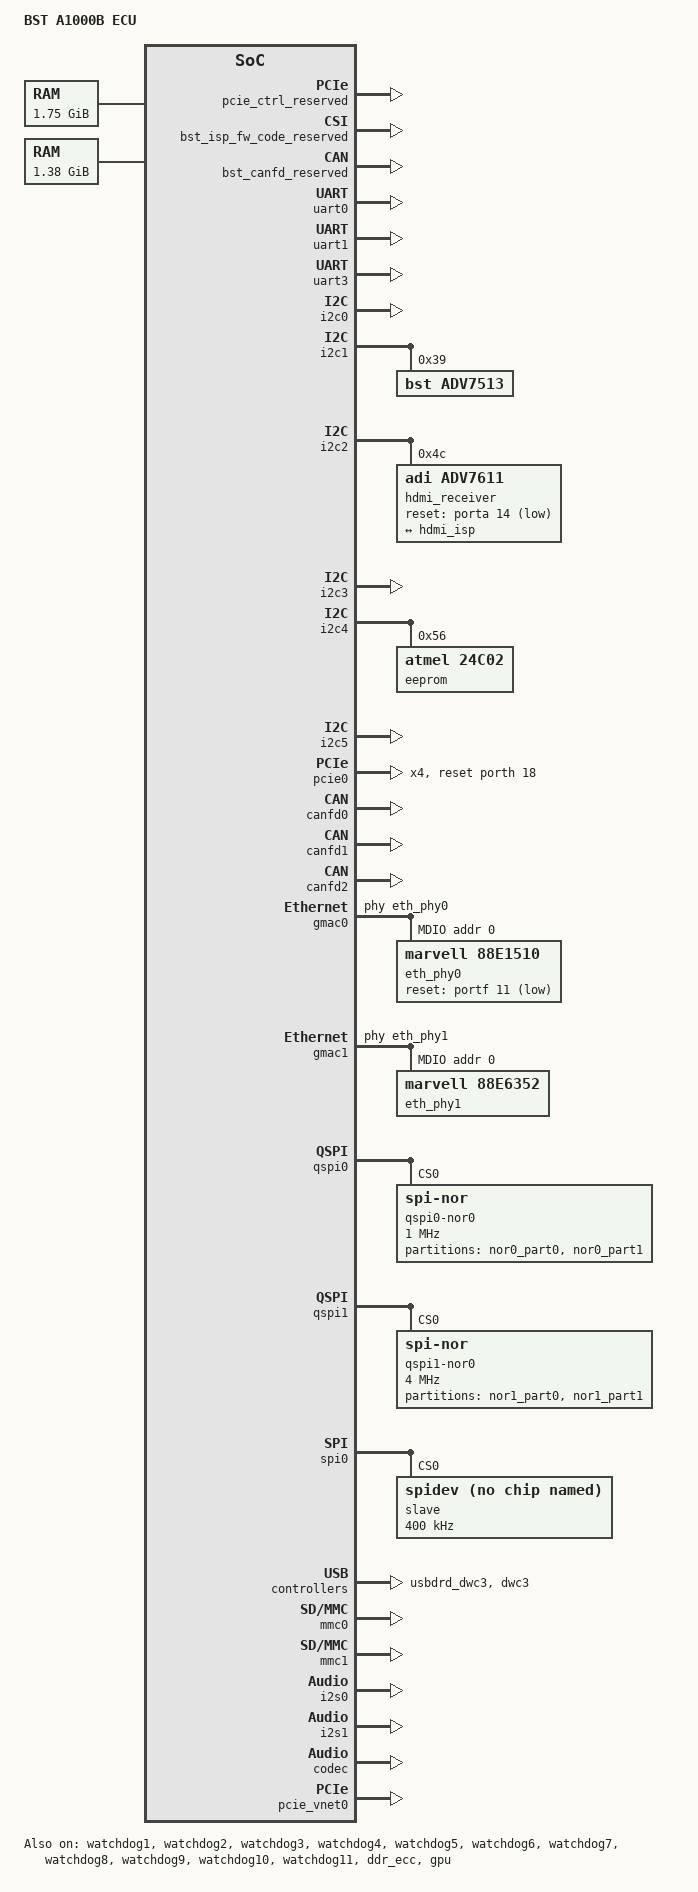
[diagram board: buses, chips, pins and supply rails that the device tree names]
/dts-v1/;

/memreserve/ 0x18000000 0x100000;

#include "bsta1000b.dtsi"
#include "isp/ecu/ecu-configs.dtsi"

/ {
	compatible = "bst,a1000b";
	model = "BST A1000B ECU";

	chosen {
		bootargs = "earlycon=uart8250,mmio32,0x20008000 console=ttyS0,115200n8 memreserve=64M@0xf8000000 rdinit=/sbin/init root=/dev/ram rw init=/linuxrc rodata=n";
		stdout-path = "uart0";
	};

	aliases {
		//serial0 = "/amba_apu@0/serial@20008000";
	};
	
	memory@80000000 {
		device_type = "memory";
		reg = <0x00000000 0x80000000 0x00000000 0x70000000>;
	};
	memory@198000000 {
		device_type = "memory";
		reg = <0x00000001 0x98000000 0x00000000 0x58000000>;
	};

    memory1@18000000 {
        device_type = "memory";
        reg = <0x0 0x18000000 0x0 0x100000>;
    };

    reserved-memory {
        #address-cells = <2>;
        #size-cells = <2>;
        ranges;

		pcie_ctrl_reserved: pcie_ctrl@8fd00000 {
			compatible = "bst,pcie-ctrl";
			reg = <0x0 0x8fd00000 0x0 0x100000>;
			no-map;
		};

		bst_atf_reserved: bst_atf@8b000000 {
			compatible = "shared-dma-pool";
			reg = <0x0 0x8b000000 0x0 0x2000000>;
			no-map;
		};

		bst_tee_reserved: bst_tee@8fec0000 {
			compatible = "shared-dma-pool";
			reg = <0x0 0x8fec0000 0x0 0x40000>;
			no-map;
		};

		bst_ipc_reserved: bstn_cma@8ff00000 {
			compatible = "shared-dma-pool";
			reg = <0x0 0x8ff00000 0x0 0x100000>;
			no-map;
		};

		bstn_firmware_reserved: bstn@90000000 {
			compatible = "bst,bstn";
			reg = <0x0 0x90000000 0x0 0x2000000>;
			no-map;
		};

		bst_lwnn_dsp0_firmware_reserved: bst_lwnn@92000000 {
			compatible = "bst,bst_lwnn";
			reg = <0x0 0x92000000 0x0 0x2000000>;
			no-map;
		};

		bst_lwnn_dsp1_firmware_reserved: bst_lwnn@94000000 {
			compatible = "bst,bst_lwnn";
			reg = <0x0 0x94000000 0x0 0x2000000>;
			no-map;
		};

		bst_cv_firmware_reserved: bst_cv@96000000 {
			compatible = "bst,bst_cv";
			reg = <0x0 0x96000000 0x0 0x4000000>;
			no-map;
		};

		bst_cv_reserved: bst_cv_cma@9a000000 {
			compatible = "shared-dma-pool";
			reg = <0x0 0x9a000000 0x0 0x2000000>;
			align-shift = <8>;
			no-map;
		};

		/* reserved for vsp fw code */
		bst_vsp_fw_code_reserved: vsp@0x9c000000 {
			compatible = "shared-dma-pool";
			reg = <0x0 0x9c000000 0x0 0x1000000>;
			no-map;
		};

		/* reserved for vsp fw data */
		vsp_fw_data_reserved: vsp_fw@0x9d000000 {
			reg = <0x0 0x9d000000 0x0 0x4000000>;
			no-map;
		};

		/* reserved for isp fw code */
		bst_isp_fw_code_reserved: bst_isp@0xa1000000 {
			compatible = "shared-dma-pool";
			reg = <0x0 0xa1000000 0x0 0x1000000>;
			no-map;
		};

		/* reserved for isp fw data */
		isp_fw_data_reserved: bst_isp_fw@0xa2000000 {
			reg = <0x0 0xa2000000 0x0 0x10000000>;
			no-map;
		};

		/* coreip public memory pool */
		coreip_reserved: coreip_pub_cma@0xb2000000 {
			compatible = "shared-dma-pool";
			reg = <0x0 0xb2000000 0x0 0x36000000>;
			reusable;
		};

		/* reserved for pmu noc */
		pmu_noc_reserved: pmu_noc@0xe8000000 {
			reg = <0x0 0xe8000000 0x0 0x800000>;
			no-map;
		};

		bst_canfd_reserved: canfd@0xe8800000 {
			compatible = "shared-dma-pool";
			reg = <0x0 0xe8800000 0x0 0x800000>;
			reusable;
		};

		/* reserved for ddr0 high 256M */
		bst_ddr0_reserved: ddr0@0xf0000000 {
			reg = <0x0 0xf0000000 0x0 0x10000000>;
			no-map;
		};

		/* reserved for ddr1 high 256M */
		bst_ddr1_reserved: ddr1@0x1f0000000 {
			reg = <0x1 0xf0000000 0x0 0x10000000>;
			no-map;
		};
	};

    //ipc
    mbox-poll-clients{
        compatible = "bst,ipc-mbox-client";
        reg = <0xfec00020 0x8>,     // dsp
            <0x52030090 0x8> ,      // ISP
            <0x53090008 0x8>,       // VSP
            <0xfec00028 0x8>;       // R5 core0

        #mbox-cells = <0x1>;
        phandle = <0xe>;
    };
    bstn-mbox {
        compatible = "bstn,bstn-mbox";
        // zcu102+vu440
        reg =   <0x0 0x33102000 0x0 0x2000>,
                      <0x0 0x33100000 0x0 0x2000>,
                      <0x0 0x80000000 0x0 0x4>,
                      <0x0 0x80002000 0x0 0x4>;
        fpga-reset = <1>;
        memory-region = <&bst_ipc_reserved>;
        // id = <0x0>;
        assigned-mem-size = <0x1000>;
        interrupt-parent = <&gic400>;
        interrupts =    <
                        GIC_SPI 113 (GIC_CPU_MASK_SIMPLE(8) | IRQ_TYPE_LEVEL_HIGH)
                        GIC_SPI 114 (GIC_CPU_MASK_SIMPLE(8) | IRQ_TYPE_LEVEL_HIGH)
                        GIC_SPI 115 (GIC_CPU_MASK_SIMPLE(8) | IRQ_TYPE_LEVEL_HIGH)
                        GIC_SPI 116 (GIC_CPU_MASK_SIMPLE(8) | IRQ_TYPE_LEVEL_HIGH)
                        GIC_SPI 117 (GIC_CPU_MASK_SIMPLE(8) | IRQ_TYPE_LEVEL_HIGH)
                        GIC_SPI 118 (GIC_CPU_MASK_SIMPLE(8) | IRQ_TYPE_LEVEL_HIGH)
                        GIC_SPI 119 (GIC_CPU_MASK_SIMPLE(8) | IRQ_TYPE_LEVEL_HIGH)
                        GIC_SPI 120 (GIC_CPU_MASK_SIMPLE(8) | IRQ_TYPE_LEVEL_HIGH)>;

        #mbox-cells = <0x1>;
        phandle = <0xea>;
    };
    
    bstn@0 {
        #address-cells = <0x2>;
        #size-cells = <0x2>;
        compatible = "bst,bstn,cma";
        reg = <0x0 0x50020000 0x0 0x100
            0x0 0x90000000 0x0 0x2000000>;
        memory-region = <&coreip_reserved>;
        //the following two properties must be consistent with bstn_reserved
        rmem-base = <0x0 0xb2000000>;
        rmem-size = <0x0 0x36000000>;
        id = <0x0>;
        assigned-mem-size = <0x1000>;
        //the offset between the DDR physical address and the corresponding device bus address
        bus-offset = <0x0 0x0>;
        mbox-names = "bstn-mbox";
        mboxes = <0xea 0x8>;
        firmware = "bstn_dsp_rt.rbf";
    };

    bst_cv@0x51030000 {
        #address-cells = <0x2>;
        #size-cells = <0x2>;
        compatible = "bst,bst_cv,cma";
        reg =   <0x0 0x51030000 0x0 0x100
                0x0 0x96000000 0x0 0x2000000
                0x0 0x98000000 0x0 0x2000000
                0x0 0x92000000 0x0 0x2000000
                0x0 0x94000000 0x0 0x2000000>;
        memory-region = <&bst_cv_reserved>;
        assigned-mem-size = <0x4000>;
        //the offset between the DDR physical address and the corresponding device bus address
        bus-offset = <0x0 0x0>;
        mbox-names = "bstn-mbox";
        mboxes = <0xea 0x9>;
        dsp-num = <0x4>;
        ipc-register-addr = <0x8ff00000>;
        dsp@0x96000000 {
            index = <0x0>;
            firmware = "bst_cv_dsp_rt.rbf";
            assigned-mem-size = <0x1000>;
            rt-init-addr = <0x967ff000>;
            //ipc source ARM core index of the CV driver
            ipc-src-core = <0x3>;
        };
        dsp@0x98000000 {
            index = <0x1>;
            firmware = "bst_cv_dsp1_rt.rbf";
            assigned-mem-size = <0x1000>;
            rt-init-addr = <0x987ff000>;
            //ipc source ARM core index of the CV driver
            ipc-src-core = <0x3>;
        };
        dsp@0x92000000 {
            index = <0x2>;
            firmware = "bst_cv_dsp2_rt.rbf";
            assigned-mem-size = <0x1000>;
            rt-init-addr = <0x927ff000>;
            //ipc source ARM core index of the CV driver
            ipc-src-core = <0x3>;
        };
        dsp@0x94000000 {
            index = <0x3>;
            firmware = "bst_cv_dsp3_rt.rbf";
            assigned-mem-size = <0x1000>;
            rt-init-addr = <0x947ff000>;
            //ipc source ARM core index of the CV driver
            ipc-src-core = <0x3>;
        };
    };

    bst_lwnn@0x51030000 {
        compatible = "bst,bst_lwnn,cma";
        reg =   <0x0 0x51030000 0x0 0x100
                0x0 0x92000000 0x0 0x2000000
                0x0 0x94000000 0x0 0x2000000>;
        memory-region = <&coreip_reserved>;
        //the offset between the DDR physical address and the corresponding device bus address
        bus-offset = <0x0 0x0>;
        mbox-names = "bst-lwnn-mbox";

        dsp-num = <0x2>;
        ipc-register-addr = <0x8ff00000>;
        dsp@0x92000000 {
            index = <0x2>;
            firmware = "bst_lwnn_dsp2_rt.rbf";
            assigned-mem-size = <0x2000>;
            rt-init-addr = <0x927ff000>;
            //ipc source ARM core index of the LWNN driver
            ipc-src-core = <0x6>;
        };
        dsp@0x94000000 {
            index = <0x3>;
            firmware = "bst_lwnn_dsp3_rt.rbf";
            assigned-mem-size = <0x2000>;
            rt-init-addr = <0x947ff000>;
            //ipc source ARM core index of the LWNN driver
            ipc-src-core = <0x0>;
        };    
    };

	ipc_vsp@0 {
		#address-cells = <0x2>;
		#size-cells = <0x2>;
		compatible = "bst,bst-vsp-ipc";
		reg = <0x0 0x9c000000 0x0 0x100000
				0x0 0x9c100000 0x0 0x80000
				0x0 0x9c180000 0x0 0x80000
				0x0 0x53090004 0x0 0x4
				0x0 0x53090010 0x0 0xc
				0x0 0x33102fbc 0x0 0x4
				0x0 0x9d000000 0x0 0x4000000>;
		memory-region = <&bst_vsp_fw_code_reserved>;
		mbox-names = "bstn-mbox"; // need
		mboxes = <0xea 0x7>;
	};

	vsp@1 {
		#address-cells = <0x2>;
		#size-cells = <0x2>;
		compatible = "bst,bst-vsp";
		memory-region = <&coreip_reserved>;
		assigned-mem-size = <0x1000>;

                clocks = <&clkc LB_VSP_DISP_CLK>;
                clock-names = "vout_display_clk";
                output-format = "HDMI_YUV444";      //HDMI_YUV444, HDMI_RGB, RGB888(LVDS)
                output-hsize = <1920>;              // for HDMI
                output-vsize = <1080>;              // for HDMI
                output-fresh = <60>;                // for HDMI
	};

       gmwarp@0 {
		#address-cells = <0x2>;
		#size-cells = <0x2>;
		compatible = "bst,bst-gmwarp";
		memory-region = <&coreip_reserved>;
	};

     encoder@0 {
		#address-cells = <0x2>;
		#size-cells = <0x2>;
		compatible = "bst,bst-encoder";
		memory-region = <&coreip_reserved>;
     };

    firmware {
		optee {
			compatible = "linaro,optee-tz";
			method = "smc";
            chip-number = <2>;
		};
	};

    tee {
        #address-cells = <0x2>;
        #size-cells = <0x2>;
        reg = <0x0 0x18060000 0x0 0x20000>;
        memory-region = <&bst_tee_reserved>;
        mbox-names = "bstn-mbox";
        chip-number = <1>;
    };	

    ipc_arm0@0 {
        #address-cells = <0x2>;
        #size-cells = <0x2>;
        compatible = "bst,arm0";
        reg = <0x4 0xfec00000 0x0 0x20 0x4 0x80000000 0x0 0x20000>;
        memory-region = <&bst_ipc_reserved>;
        //id = <0x0>;
        //ipc-resource-id = <0>;   // ipc add, refer to mbox-poll-clients :reg <0>
        assigned-mem-size = <0x1000>;
        // bstn-offset = <0x4 0x0>;
        mbox-names = "bstn-mbox";
        mboxes = <0xea 0x0>;
    };

    ipc_arm3@3 {
        #address-cells = <0x2>;
        #size-cells = <0x2>;
        compatible = "bst,arm3";
        reg = <0x4 0xfec10000 0x0 0x20 0x4 0x80000000 0x0 0x20000>;
        memory-region = <&bst_ipc_reserved>;
        // id = <0x1>;
        //ipc-resource-id = <0>;   // ipc add, refer to mbox-poll-clients :reg <0>
        assigned-mem-size = <0x1000>;
        //bstn-offset = <0x4 0x0>;
        mbox-names = "bstn-mbox";
        mboxes = <0xea 0x3>;
    };

    ipc_arm2@2 {
        #address-cells = <0x2>;
        #size-cells = <0x2>;
        compatible = "bst,arm2";
        reg = <0x4 0xfec10000 0x0 0x20 0x4 0x80000000 0x0 0x20000>;
        memory-region = <&bst_ipc_reserved>;
        // id = <0x1>;
        //ipc-resource-id = <0>;   // ipc add, refer to mbox-poll-clients :reg <0>
        assigned-mem-size = <0x1000>;
        //bstn-offset = <0x4 0x0>;
        mbox-names = "bstn-mbox";
        mboxes = <0xea 0x2>;
    };

    ipc_arm1@1 {
        #address-cells = <0x2>;
        #size-cells = <0x2>;
        compatible = "bst,arm1";
        reg = <0x4 0xfec10000 0x0 0x20 0x4 0x80000000 0x0 0x20000>;
        memory-region = <&bst_ipc_reserved>;
        //id = <0x1>;
        //ipc-resource-id = <0>;   // ipc add, refer to mbox-poll-clients :reg <0>
        assigned-mem-size = <0x1000>;
        // bstn-offset = <0x4 0x0>;
        mbox-names = "bstn-mbox";
        mboxes = <0xea 0x1>;
    };
    ipc@0 {
        #address-cells = <0x2>;
        #size-cells = <0x2>;
        compatible = "bst,ipc";
        reg = <0x4 0xfec00000 0x0 0x20 0x4 0x80000000 0x0 0x20000>;
        memory-region = <&bst_ipc_reserved>;
        // id = <0x0>;
        assigned-mem-size = <0x1000>;
        // bstipc-offset = <0x4 0x0>;
        mbox-names = "bstn-mbox";
        mboxes = <0xea 0x5>;
        //firmware = "dsp_rt.rbf";
    };
};

&pinctrl {
    status = "okay";
    can0_transceiver_pinctrl: can0_transceiver_pinctrl {
        mux {
            //pins = "gpio_107";
            function = "gpio";
        };
    };
    can1_transceiver_pinctrl: can1_transceiver_pinctrl {
        mux {
            //pins = "gpio_30";
            function = "gpio";
        };
    };
    can2_transceiver_pinctrl: can2_transceiver_pinctrl {
        mux {
            //pins = "jtag_tdo";
            function = "gpio";
        };
    };
};

&uart0 {
    status = "okay";
};
&uart1 {
    status = "okay";
};
&uart2 {
    status = "disable";
};
&uart3 {
    status = "okay";
};

&i2c0 {
    status = "okay";
};
&i2c1 {
    status = "okay";
    #address-cells = <1>;
    #size-cells = <0>;
    adv7513@39 {
         compatible = "bst,adv7513";
         reg = <0x39>;
    };
};
&i2c2 {
    status = "okay";
    #address-cells = <1>;
    #size-cells = <0>;

    hdmi_receiver@4c {
        compatible = "adi,adv7611";
        reg = <0x4c>;
        reg-names = "main", "edid";
        reset-gpios = <&porta 14 1>;
        pinctrl-names = "default";
        default-input = <0>;

        data-type = <0x1e>;
        size = <1920 1080>;
        dvp-dummy = <0xaaa0>; //[15:x]=dummydata [x:0]=0
        view0-fmt = <1>;
        view0-size = <1280 720>;
        view1-fmt = <1>;
        view1-size = <1920 1080>;
        pdns-mode = <0>;
        pdns-input-view = <0>;
        hblank = <0>;

        port {
            hdmi_in: endpoint {
                remote-endpoint = <&hdmi_isp>;
            };
        };
    };
};
&i2c3 {
    status = "okay";   
};
&i2c4 {
    status = "okay";
    #address-cells = <1>;
    #size-cells = <0>;
         eeprom@56 {
                 compatible = "atmel,24c02";
                 reg = <0x56>;
                 pagesize = <16>;
         };


};
&i2c5 {
    status = "okay";
};

&gdma0 {
    status = "okay";
};

#if 0 //pcie0-ep
&pcie_phy {
    dmc-lane = <0x0>; /* bit0: 1=2x2ports, 0=1x4ports */
    dmc-mode = <0x0>; /* bit1: 1=RC-mode, 0=EP-mode */
    pcie-ctl0 = <1>;  /* Controller reset */
    pcie-ctl1 = <0>;  /* Controller reset */
    //inner-clk;
    /* clocks= <&clkc LB_PCIE_REF_ALT_CLK_P>,
            <&clkc LB_PCIE_AUX_CLK>,
            <&clkc LB_PCIE_AXI_GACLK>,
            <&clkc LB_PCIE_APB_GPCLK>;
    clock-names = "ref_clk", "aux_clk", "axi_clk", "apb_clk";*/
};

&pcie0_ep {
    status = "okay";
    reset-gpio = <&porth 18 0>; /* reset pcie0 gpio-242 */
    max-link-speed = <3>;
    num-lanes = <4>;
    picp-ctl = "dma";
    ob-memaddr-def = <&pcie_ctrl_reserved>;
};

#else //pcie0-rc
&pcie_phy {
    dmc-lane = <0x0>; /* bit0: 1=2x2ports, 0=1x4ports */
    dmc-mode = <0x2>; /* bit1: 1=RC-mode, 0=EP-mode */
    pcie-ctl0 = <1>;  /* Controller reset */
    pcie-ctl1 = <0>;  /* Controller reset */
    
    /*clocks= <&clkc LB_PCIE_REF_ALT_CLK_P>,
            <&clkc LB_PCIE_AUX_CLK>,
            <&clkc LB_PCIE_AXI_GACLK>,
            <&clkc LB_PCIE_APB_GPCLK>;
    clock-names = "ref_clk", "aux_clk", "axi_clk", "apb_clk";*/
};

&pcie0 {
    status = "okay";
    reset-gpio = <&porth 18 0>; /* reset pcie0 gpio-242 */
    max-link-speed = <3>;
    num-lanes = <4>;
    //picp-ctl = "mem";
    ob-memaddr-def = <&pcie_ctrl_reserved>;
};
#endif

&canfd0 {
    status = "okay";
    //reset-gpios = <&porta 22 0>;
    reset-active-low;
    memory-region = <&bst_canfd_reserved>;
    pinctrl-names = "default";
	//pinctrl-0 = <&can0_pinctrl &can0_transceiver_pinctrl>;
};
&canfd1 {
    status = "okay";
    //reset-gpios = <&porta 23 0>;
    reset-active-low;
    pinctrl-names = "default";
	//pinctrl-0 = <&can1_pinctrl &can1_transceiver_pinctrl>;
};
&canfd2 {
    status = "okay";
    //reset-gpios = <&portb 4 0>;
    reset-active-low;
    pinctrl-names = "default";
	//pinctrl-0 = <&can2_pinctrl &can2_transceiver_pinctrl>;
};
&gpio0 {
    status = "okay";

    /* gpio_special_func_pinctrl:gpio_num_29 gmac0 reset pin; debug_4 and debug_5 as gpio */
    //pinctrl-0 = <gpio_special_func_pinctrl>;
    pinctrl-0 = <&sdemmc0_pinctrl  &sdemmc1_pinctrl  &debug_pinctrl  &vout_pinctrl  &vin_pinctrl>;
};
&gpio1 {
    status = "okay";
};
           
&gmac0 {
    status = "okay";
    mac-mode = "rgmii";
    phy-handle = <&eth_phy0>;
    extend-op = <7>;
    pinctrl-names = "default";
    pinctrl-0 = <&rgmii0_pinctrl>;
    mdio {
        compatible = "snps,dwmac-mdio";
        #address-cells = <1>;
        #size-cells = <0>;
        eth_phy0: eth_phy0@0 {
            compatible = "marvell,88E1510", "ethernet-phy-id0141.0DD1", "ethernet-phy-ieee802.3-c22";
            device_type = "ethernet-phy";
            /* On - Link, Blink - Activity, Off - No Link - Dual LED mode*/
            marvell,reg-init = <3 0x10 0 0x101e>;
            max-speed = <1000>;
            reg = <0x0>;
            reset-gpios = <&portf 11 1>;
            reset-assert-us = <20000>;
            reset-deassert-us = <20000>;
        };
    };
};


&gmac1 {
    status = "okay";
    mac-mode = "rgmii";
    phy-handle = <&eth_phy1>;
    extend-op = <7>;
    pinctrl-names = "default";
    pinctrl-0 = <&rgmii1_pinctrl>;
    mdio {
        compatible = "snps,dwmac-mdio";
        #address-cells = <1>;
        #size-cells = <0>;
        eth_phy1: eth_phy1@1 {
            compatible = "marvell,88E6352", "ethernet-phy-id0.3520", "ethernet-phy-ieee802.3-c22";
			device_type = "ethernet-phy";
			max-speed = <1000>;
			reg = <0>;
            reset-swpin = <&porta 9 0>;
            reset-active-low;
	        reset-assert-us = <20000>;
	        reset-deassert-us = <20000>;
		};
    };
};

&qspi0 {
    status = "okay";
    //wp_mode;
    qspi0-nor0@0 {
        #address-cells = <1>;
        #size-cells = <1>;
        spi-rx-bus-width = <1>;
        spi-tx-bus-width = <1>;
        compatible = "jedec,spi-nor";
        status = "okay";
        spi-max-frequency = <1000000>;
        reg = <0>;
        mode = <0>;

        partition@0 {
            reg = <0 0x1e00000>;
            label = "nor0_part0";
        };
        partition@1e00000 {
            reg = <0x1e00000 0x200000>;
            label = "nor0_part1";
        };
    };
};

&qspi1 {
    status = "okay";
    //wp_mode;
    qspi1-nor0@0 {
        #address-cells = <1>;
        #size-cells = <1>;
        spi-rx-bus-width = <4>;
        spi-tx-bus-width = <4>;
        compatible = "jedec,spi-nor";
        status = "okay";
        spi-max-frequency =<4000000>;
        reg = <0>;
        mode = <0>;

        partition@0 {
            reg = <0 0x1000000>;
            label = "nor1_part0";
        };  
        partition@1000000 {
            reg = <0x1000000 0x1000000>;
            label = "nor1_part1";
        };  
    };  
};

&spi0 {
    status = "okay";
    slave@0 {
            compatible = "spidev";
            reg = <0>;
            spi-max-frequency = <400000>;
    };
};
&spi1 {
    status = "disable";
    slave@0 {
            compatible = "spidev";
            reg = <0>;
            spi-max-frequency = <400000>;
    };
};

&watchdog0 {
    status = "disable";
};
&watchdog1 {
    status = "okay";
};
&watchdog2 {
    status = "okay";
};
&watchdog3 {
    status = "okay";
};
&watchdog4 {
    status = "okay";
};
&watchdog5 {
    status = "okay";
};
&watchdog6 {
    status = "okay";
};
&watchdog7 {
    status = "okay";
};
&watchdog8 {
    status = "okay";
};
&watchdog9 {
    status = "okay";
};
&watchdog10 {
    status = "okay";
};
&watchdog11 {
    status = "okay";
};

&ddr_ecc {
    status = "okay";
};

&arm_pmu {
    status = "okay";
};

&lsp0_pwm0 {
	/* safety used lsp0-timer-ch0 */
	/* must be disable */
    status = "disable";
};
&lsp0_pwm1 {
    status = "disable";
};
&lsp1_pwm0 {
    status = "disable";
};
&lsp1_pwm1 {
    status = "disable";
};

&a55_timer0 {
    status = "disable";
};

&a55_timer1 {
    status = "disable";
};

&usbdrd_dwc3 {
    status = "okay";
    powerctl-gpios = <&porta 11 GPIO_ACTIVE_HIGH>;
    pinctrl-names = "default";
	pinctrl-0 = <&usb3_pinctrl>;
};

&usb3_pinctrl {
    mux {
        pins = "dsp_jtag_tdi";
        function = "gpio";
    };
};

&dwc3 {
    status = "okay";
};


&mmc0 {
    status = "okay";
};

&mmc1 {
    status = "okay";
};

&i2s0 {
    status = "okay";
};

&i2s1 {
    status = "okay";
};
&thermal {
    status = "okay";
};
&gpu {
    status = "okay";
};

&codec {
    status = "okay";
};

&pcie_vnet0 {
    status = "ok";
    extend-op = <7>;
    memory-region = <&pcie_ctrl_reserved>;
};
